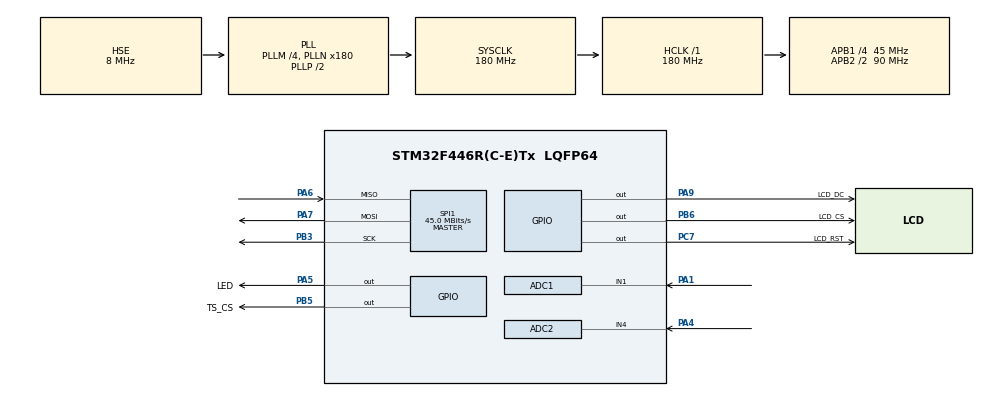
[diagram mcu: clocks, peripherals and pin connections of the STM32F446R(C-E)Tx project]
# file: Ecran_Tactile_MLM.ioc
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ADC1.Channel-0\#ChannelRegularConversion=ADC_CHANNEL_1
ADC1.NbrOfConversionFlag=1
ADC1.Rank-0\#ChannelRegularConversion=1
ADC1.SamplingTime-0\#ChannelRegularConversion=ADC_SAMPLETIME_3CYCLES
ADC1.master=1
ADC2.Channel-0\#ChannelRegularConversion=ADC_CHANNEL_4
ADC2.NbrOfConversionFlag=1
ADC2.Rank-0\#ChannelRegularConversion=1
ADC2.SamplingTime-0\#ChannelRegularConversion=ADC_SAMPLETIME_3CYCLES
Mcu.Family=STM32F4
Mcu.Name=STM32F446R(C-E)Tx
Mcu.Package=LQFP64
NVIC.PriorityGroup=NVIC_PRIORITYGROUP_0
PA1.Signal=ADCx_IN1
PA4.Signal=ADCx_IN4
PA5.GPIO_Label=LED
PA5.Signal=GPIO_Output
PA6.Mode=Full_Duplex_Master
PA6.Signal=SPI1_MISO
PA7.Mode=Full_Duplex_Master
PA7.Signal=SPI1_MOSI
PA9.GPIO_Label=LCD_DC
PA9.Signal=GPIO_Output
PB3.Mode=Full_Duplex_Master
PB3.Signal=SPI1_SCK
PB5.GPIO_Label=TS_CS
PB5.Signal=GPIO_Output
PB6.GPIO_Label=LCD_CS
PB6.Signal=GPIO_Output
PC7.GPIO_Label=LCD_RST
PC7.Signal=GPIO_Output
PH0-OSC_IN.Mode=HSE-External-Oscillator
PH0-OSC_IN.Signal=RCC_OSC_IN
PH1-OSC_OUT.Mode=HSE-External-Oscillator
PH1-OSC_OUT.Signal=RCC_OSC_OUT
ProjectManager.HeapSize=0x200
ProjectManager.StackSize=0x400
ProjectManager.TargetToolchain=STM32CubeIDE
RCC.48MHZClocksFreq_Value=84000000
RCC.AHBFreq_Value=180000000
RCC.APB1CLKDivider=RCC_HCLK_DIV4
RCC.APB1Freq_Value=45000000
RCC.APB1TimFreq_Value=90000000
RCC.APB2CLKDivider=RCC_HCLK_DIV2
RCC.APB2Freq_Value=90000000
RCC.APB2TimFreq_Value=180000000
RCC.CortexFreq_Value=180000000
RCC.FLatency-AdvancedSettings=FLASH_LATENCY_5
RCC.HCLKFreq_Value=180000000
RCC.HSE_VALUE=8000000
RCC.HSI_VALUE=16000000
RCC.PLLM=4
RCC.PLLN=180
RCC.PLLSourceVirtual=RCC_PLLSOURCE_HSE
RCC.SYSCLKFreq_VALUE=180000000
RCC.SYSCLKSource=RCC_SYSCLKSOURCE_PLLCLK
RCC.USBFreq_Value=180000000
RCC.VCOOutputFreq_Value=360000000
SH.ADCx_IN1.0=ADC1_IN1,IN1
SH.ADCx_IN4.0=ADC2_IN4,IN4
SPI1.BaudRatePrescaler=SPI_BAUDRATEPRESCALER_2
SPI1.CalculateBaudRate=45.0 MBits/s
SPI1.Direction=SPI_DIRECTION_2LINES
SPI1.Mode=SPI_MODE_MASTER
SPI1.VirtualType=VM_MASTER
board=NUCLEO-F446RE

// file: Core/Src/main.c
/* USER CODE BEGIN Header */
/**
  ******************************************************************************
  * @file           : main.c
  * @brief          : Main program body
  ******************************************************************************
  * @attention
  *
  * Copyright (c) 2022 STMicroelectronics.
  * All rights reserved.
  *
  * This software is licensed under terms that can be found in the LICENSE file
  * in the root directory of this software component.
  * If no LICENSE file comes with this software, it is provided AS-IS.
  *
  ******************************************************************************
  */
/* USER CODE END Header */
#include "main.h"

/* USER CODE BEGIN Includes */
#include "MY_ILI9341.h"
#include "lcd_touch.h"
#include "string.h"
#include "image.h"
/* USER CODE END Includes */

ADC_HandleTypeDef hadc1;
ADC_HandleTypeDef hadc2;

SPI_HandleTypeDef hspi1;

void SystemClock_Config(void);
static void MX_GPIO_Init(void);
static void MX_SPI1_Init(void);
static void MX_ADC1_Init(void);
static void MX_ADC2_Init(void);

/* USER CODE BEGIN 0 */
//TS_TOUCH_DATA_Def myTS_Handle;
/* USER CODE END 0 */

int main(void)
{

  /* MCU Configuration--------------------------------------------------------*/

  /* Reset of all peripherals, Initializes the Flash interface and the Systick. */
  HAL_Init();

  /* Configure the system clock */
  SystemClock_Config();

  /* Initialize all configured peripherals */
  MX_GPIO_Init();
  MX_SPI1_Init();
  MX_ADC1_Init();
  MX_ADC2_Init();
  /* USER CODE BEGIN 2 */
	ILI9341_Init(&hspi1, LCD_CS_GPIO_Port, LCD_CS_Pin, LCD_DC_GPIO_Port, LCD_DC_Pin, LCD_RST_GPIO_Port, LCD_RST_Pin);
	ILI9341_setRotation(2);
	ILI9341_Fill(COLOR_NAVY);

	//TSC2046_Begin(&hspi2, TS_CS_GPIO_Port, TS_CS_Pin);
	//TSC2046_Calibrate();
	ILI9341_Fill(COLOR_WHITE);

		ILI9341_Fill_Rect(20, 140, 140, 180, COLOR_BLUE);
		ILI9341_printText("BLUE", 55,  155, COLOR_WHITE, COLOR_BLUE, 1);
		ILI9341_Fill_Rect(180, 140, 300, 180, COLOR_RED);
		ILI9341_printText("RED", 215,  155, COLOR_WHITE, COLOR_RED, 1);

	ILI9341_Fill_Rect(60, 30, 260, 90, COLOR_RED);

	ILI9341_Fill_Rect(5, 215, 315, 235, COLOR_ORANGE);
	ILI9341_printText("Last touch point X=000  Y=000", 70, 221, COLOR_WHITE, COLOR_ORANGE, 1);
	ILI9341_Fill_Rect(5, 215, 5, 25, COLOR_GREEN);
	ILI9341_printText("Max, Leo, Margot, time to start ", 60 ,5, COLOR_WHITE, COLOR_BLACK, 1);
	ILI9341_Fill_Rect(280, 0, 320, 40, COLOR_RED);
	ILI9341_printText("X", 292, 5, COLOR_WHITE, COLOR_RED, 4);
	LCD_Touch_Init(&hadc2, ADC_CHANNEL_4, &hadc1, ADC_CHANNEL_1);
		LCD_SetMode(LCD_MODE_TOUCH);
		uint8_t flag=0;
		LCD_TouchPoint p;
		p.x=0;
		p.y=0;
		p.state=LCD_TOUCH_IDLE;
		LCD_TouchPoint New_p;
				New_p.x=0;
				New_p.y=0;
				New_p.state=LCD_TOUCH_IDLE;
		char TextPos[] = "Last touch point X=000  Y=000";
		char PosX[3];
		char PosY[3];
  /* USER CODE END 2 */

  /* Infinite loop */
  /* USER CODE BEGIN WHILE */

  while (1)
  {
  	  /*** main test 3 draw last point and touch at start of touch BEG***/
/*

		  if(LCD_Touch_GetState()==LCD_TOUCH_DOWN ) /if there is a touch starting
		  {		LCD_Touch_Read(&p);
			  LCD_Touch_Draw_LastPoint_Bottom(&p);
			  DrawTouchPoint(&p);

			  if(LCD_Touch_Belong_Interval(&p,140,180,180,300))  // carré LED ON
			 			  {

			 					  LCD_SetMode(LCD_MODE_DRAW);

			 					  ILI9341_Fill_Rect(20, 140, 140, 180, COLOR_BLUE);
			 					  ILI9341_printText("LED ON 0", 55,  155, COLOR_WHITE, COLOR_BLUE, 1);
			 					  ILI9341_Fill_Rect(180, 140, 300, 180, COLOR_RED);
			 					  ILI9341_printText("LED OFF 0", 215,  155, COLOR_WHITE, COLOR_RED, 1);
			 					  LCD_SetMode(LCD_MODE_TOUCH);
			 			  }

			 if(LCD_Touch_Belong_Interval(&p,140,180,30,140))  // carré LED OFF
			 			{
			 					 LCD_SetMode(LCD_MODE_DRAW);
			 					 ILI9341_Fill_Rect(20, 140, 140, 180, COLOR_RED);
			 					 ILI9341_printText("LED ON 1", 55,  155, COLOR_WHITE, COLOR_RED, 1);
			 					 ILI9341_Fill_Rect(180, 140, 300, 180, COLOR_BLUE);
			 					 ILI9341_printText("LED OFF 1", 215,  155, COLOR_WHITE, COLOR_BLUE, 1);
			 					 LCD_SetMode(LCD_MODE_TOUCH);
			 			}

			 if(LCD_Touch_Belong_Interval(&p,50,80,60,180))  // rectangle
			 {
				 ILI9341_printImage(60,30, 100,100,Banane1, sizeof(Banane1));
				 HAL_Delay(100);
				 ILI9341_printImage(60,30, 100,100,Banane2, sizeof(Banane2));
				 HAL_Delay(100);
				 ILI9341_printImage(60,30, 100,100,Banane3, sizeof(Banane3));
				 HAL_Delay(100);
				 ILI9341_printImage(60,30, 100,100,Banane4, sizeof(Banane4));
				 HAL_Delay(100);
				 ILI9341_printImage(60,30, 100,100,Banane5, sizeof(Banane5));
				 HAL_Delay(100);
				 ILI9341_printImage(60,30, 100,100,Banane6, sizeof(Banane6));
				 HAL_Delay(100);
				 ILI9341_printImage(60,30, 100,100,Banane7, sizeof(Banane7));
				 HAL_Delay(100);
				 ILI9341_printImage(60,30, 100,100,Banane8, sizeof(Banane8));
				 HAL_Delay(100);
			 }
			 if(LCD_Touch_Belong_Interval(&p,0,40,0,40))  // Clear
			 			 {
				 	 	 	 ILI9341_Fill(COLOR_WHITE);
				 	 	 	 ILI9341_Fill_Rect(20, 140, 140, 180, COLOR_BLUE);
				 	 	 	 ILI9341_printText("LED ON", 55,  155, COLOR_WHITE, COLOR_BLUE, 1);
				 	 	 	 ILI9341_Fill_Rect(180, 140, 300, 180, COLOR_RED);
				 	 	 	 ILI9341_printText("LED OFF", 215,  155, COLOR_WHITE, COLOR_RED, 1);
				 	 	 	 ILI9341_Fill_Rect(60, 30, 260, 90, COLOR_RED);
				 	 	 	 ILI9341_Fill_Rect(5, 215, 315, 235, COLOR_ORANGE);
				 	 	 	 ILI9341_printText("Last touch point X=000  Y=000", 70, 221, COLOR_WHITE, COLOR_ORANGE, 1);
				 	 	 	 ILI9341_Fill_Rect(5, 215, 5, 25, COLOR_GREEN);
				 	 	 	 ILI9341_printText("Max, Leo, Margot, time to start ", 60 ,5, COLOR_WHITE, COLOR_BLACK, 1);
				 	 	 	 ILI9341_Fill_Rect(280, 0, 320, 40, COLOR_RED);
				 	 	 	 ILI9341_printText("X", 292, 5, COLOR_WHITE, COLOR_RED, 4);
			 			 }

		  }
		  else if(LCD_Touch_GetState()==LCD_TOUCH_UP){ //if the touch end
			  LCD_Touch_Read(&p);
			  LCD_SetMode(LCD_MODE_DRAW);
			  if (p.tick>1000){
				  	  char  BUF[3600];
				  	  sprintf(BUF,"Ticktime : %ld",p.tick);
				  	  ILI9341_printText(BUF, 60 ,60, COLOR_WHITE, COLOR_ORANGE, 1);

			  	  }
			  	  else{
			  		ILI9341_Fill_Rect(60, 30, 260, 90, COLOR_RED);
			  		}
			  ILI9341_printText("Max, Leo, Margot, time to start ", 60 ,5, COLOR_WHITE, COLOR_BLACK, 1);
			  LCD_SetMode(LCD_MODE_TOUCH);

		  }
		  else if(LCD_Touch_GetState()==LCD_TOUCH_MOVE){ //if there is a move during the touch
			  New_p.x=0;
			  New_p.y=0;
			  LCD_Touch_Read(&New_p);
			  if(New_p.y!=0){ //if there really is a move
				  LCD_Touch_Draw_LastPoint_Bottom(&New_p);
	  			  DrawTouchPoint(&p);

	  			  LCD_SetMode(LCD_MODE_DRAW);
	  			 // ILI9341_drawLine(320-p.y,p.x,320-New_p.y,New_p.x,COLOR_BLACK);
	  			  ILI9341_printText("Max, Leo, Margot, time to leave ", 60 ,5, COLOR_WHITE, COLOR_BLACK, 1);
	  			  ILI9341_Fill_Rect(60, 30, 260, 90, COLOR_RED);
	  			  ILI9341_Fill_Rect(0, 0, 20, 20, COLOR_WHITE);

	  			  //ILI9341_printText("MOVE ", 60 ,60, COLOR_WHITE, COLOR_ORANGE, 1);
	  			  LCD_SetMode(LCD_MODE_TOUCH);

			  }

		  }
		  else{ //IDLE

		  __WFI();
		//  }

*/
		  	  /*** main test 3 draw last point and touch at start of a touch  END ***/

	  /*** main test 4 draw when moving BEG ***/
	  if(LCD_Touch_GetState()==LCD_TOUCH_DOWN ) //if there is a touch starting
	  		  {		LCD_Touch_Read(&p);
	  			  	LCD_Touch_Draw_LastPoint_Bottom(&p);
	  			  	DrawTouchPoint(&p);

	  		  }

	  		  else if(LCD_Touch_GetState()==LCD_TOUCH_MOVE){ //if there is a move during the touch
	  			  if (flag==0)
	  			  {
	  				LCD_Touch_Read(&p);
	  				LCD_Touch_Draw_LastPoint_Bottom(&p);
	  				DrawTouchPoint(&p);
	  				flag=1;
	  			  }
	  			  	  	  	  New_p.x=0;
	  						  New_p.y=0;
	  						  LCD_Touch_Read(&New_p);
	  						  if(New_p.y>2&&New_p.x>5){ //if there really is a move
	  							 LCD_Touch_Draw_LastPoint_Bottom(&New_p);
	  				  			 DrawTouchPoint(&New_p);

	  				  			  if(LCD_Touch_Belong_Interval(&New_p,140,180,180,300))  // carré LED ON
	  				  			 			  {

	  				  			 					  LCD_SetMode(LCD_MODE_DRAW);

	  				  			 					  ILI9341_Fill_Rect(20, 140, 140, 180, COLOR_BLUE);
	  				  			 					  ILI9341_printText("BLUE", 55,  155, COLOR_WHITE, COLOR_BLUE, 1);
	  				  			 					  ILI9341_Fill_Rect(180, 140, 300, 180, COLOR_RED);
	  				  			 					  ILI9341_printText("RED", 215,  155, COLOR_WHITE, COLOR_RED, 1);
	  				  			 					  LCD_SetMode(LCD_MODE_TOUCH);
	  				  			 			  }

	  				  			 if(LCD_Touch_Belong_Interval(&New_p,140,180,30,140))  // carré LED OFF
	  				  			 			{
	  				  			 					 LCD_SetMode(LCD_MODE_DRAW);
	  				  			 					 ILI9341_Fill_Rect(20, 140, 140, 180, COLOR_RED);
	  				  			 					 ILI9341_printText("RED", 55,  155, COLOR_WHITE, COLOR_RED, 1);
	  				  			 					 ILI9341_Fill_Rect(180, 140, 300, 180, COLOR_BLUE);
	  				  			 					 ILI9341_printText("BLUE", 215,  155, COLOR_WHITE, COLOR_BLUE, 1);

	  				  			 					 LCD_SetMode(LCD_MODE_TOUCH);
	  				  			 			}

	  				  			 if(LCD_Touch_Belong_Interval(&New_p,50,80,60,180))  // rectangle
	  				  			 {
	  				  				 LCD_SetMode(LCD_MODE_DRAW);
	  				  				 ILI9341_printImage(60,30, 100,100,Banane1, sizeof(Banane1));
	  				  				 HAL_Delay(100);
	  				  				 ILI9341_printImage(60,30, 100,100,Banane2, sizeof(Banane2));
	  				  				 HAL_Delay(100);
	  				  				 ILI9341_printImage(60,30, 100,100,Banane3, sizeof(Banane3));
	  				  				 HAL_Delay(100);
	  				  				 ILI9341_printImage(60,30, 100,100,Banane4, sizeof(Banane4));
	  				  				 HAL_Delay(100);
	  				  				 ILI9341_printImage(60,30, 100,100,Banane5, sizeof(Banane5));
	  				  				 HAL_Delay(100);
	  				  				 ILI9341_printImage(60,30, 100,100,Banane6, sizeof(Banane6));
	  				  				 HAL_Delay(100);
	  				  				 ILI9341_printImage(60,30, 100,100,Banane7, sizeof(Banane7));
	  				  				 HAL_Delay(100);
	  				  				 ILI9341_printImage(60,30, 100,100,Banane8, sizeof(Banane8));
	  				  				 HAL_Delay(100);
	  				  				 ILI9341_Fill_Rect(60, 30, 260, 90, COLOR_RED);
	  				  				 LCD_SetMode(LCD_MODE_TOUCH);
	  				  			 }
	  				  			 if(LCD_Touch_Belong_Interval(&New_p,1,50,1,50))  // Clear
	  				  			 			 {
	  				  				 	 	 	 LCD_SetMode(LCD_MODE_DRAW);
	  				  				 	 	 	 ILI9341_Fill(COLOR_WHITE);
	  				  				 	 	 	 ILI9341_Fill_Rect(20, 140, 140, 180, COLOR_BLUE);
	  				  				 	 	 	 ILI9341_printText("BLUE", 55,  155, COLOR_WHITE, COLOR_BLUE, 1);
	  				  				 	 	 	 ILI9341_Fill_Rect(180, 140, 300, 180, COLOR_RED);
	  				  				 	 	 	 ILI9341_printText("RED", 215,  155, COLOR_WHITE, COLOR_RED, 1);
	  				  				 	 	 	 ILI9341_Fill_Rect(60, 30, 260, 90, COLOR_RED);
	  				  				 	 	 	 ILI9341_Fill_Rect(5, 215, 315, 235, COLOR_ORANGE);
	  				  				 	 	 	 ILI9341_printText("Last touch point X=000  Y=000", 70, 221, COLOR_WHITE, COLOR_ORANGE, 1);
	  				  				 	 	 	 ILI9341_Fill_Rect(5, 215, 5, 25, COLOR_GREEN);
	  				  				 	 	 	 ILI9341_printText("Max, Leo, Margot, time to start ", 60 ,5, COLOR_WHITE, COLOR_BLACK, 1);
	  				  				 	 	 	 ILI9341_Fill_Rect(280, 0, 320, 40, COLOR_RED);
	  				  				 	 	 	 ILI9341_printText("X", 292, 5, COLOR_WHITE, COLOR_RED, 4);
	  				  				 	 	 	 LCD_SetMode(LCD_MODE_TOUCH);
	  				  				 	 	 	 New_p.x=0;
	  				  				 	 		 New_p.y=0;
	  				  				 	 		 p.y=0;
	  				  				 	 		 p.x=0;
	  				  				 	 	flag=0;
	  				  				 	//ILI9341_SendCommand(ILI9341_DISPLAY_OFF); // test reset l'écran
	  				  			 			 }
	  				  			 if(New_p.y>p.y+20 && p.y>250 && p.x>70 && p.x<170) //swipe left to the right
	  				  			 {
	  				  				 LCD_SetMode(LCD_MODE_DRAW);
	  				  				 ILI9341_Fill(COLOR_BLUE);
	  				  				 ILI9341_Fill_Rect(20, 140, 140, 180, COLOR_BLUE);
	  				  				 ILI9341_printText("BLUE", 55,  155, COLOR_WHITE, COLOR_BLUE, 1);
	  				  				 ILI9341_Fill_Rect(180, 140, 300, 180, COLOR_RED);
	  				  				 ILI9341_printText("RED", 215,  155, COLOR_WHITE, COLOR_RED, 1);
	  				  				 ILI9341_Fill_Rect(60, 30, 260, 90, COLOR_RED);
	  				  				 ILI9341_Fill_Rect(5, 215, 315, 235, COLOR_ORANGE);
	  				  				 ILI9341_printText("Last touch point X=000  Y=000", 70, 221, COLOR_WHITE, COLOR_ORANGE, 1);
	  				  				 ILI9341_Fill_Rect(5, 215, 5, 25, COLOR_GREEN);
	  				  				 ILI9341_printText("Max, Leo, Margot, time to start ", 60 ,5, COLOR_WHITE, COLOR_BLACK, 1);
	  				  				 ILI9341_Fill_Rect(280, 0, 320, 40, COLOR_RED);
	  				  				 ILI9341_printText("X", 292, 5, COLOR_WHITE, COLOR_RED, 4);
	  				  				 LCD_SetMode(LCD_MODE_TOUCH);
								}
	  				  			if(p.y<70 && New_p.y<p.y-20 && New_p.x>70 && New_p.x<170) //swipe right to the left
	  				  			{
	  				  				LCD_SetMode(LCD_MODE_DRAW);
									ILI9341_Fill(COLOR_RED);
									ILI9341_Fill_Rect(20, 140, 140, 180, COLOR_BLUE);
									ILI9341_printText("LED ON", 55,  155, COLOR_WHITE, COLOR_BLUE, 1);
									ILI9341_Fill_Rect(180, 140, 300, 180, COLOR_RED);
									ILI9341_printText("LED OFF", 215,  155, COLOR_WHITE, COLOR_RED, 1);
									ILI9341_Fill_Rect(60, 30, 260, 90, COLOR_RED);
									ILI9341_Fill_Rect(5, 215, 315, 235, COLOR_ORANGE);
									ILI9341_printText("Last touch point X=000  Y=000", 70, 221, COLOR_WHITE, COLOR_ORANGE, 1);
									ILI9341_Fill_Rect(5, 215, 5, 25, COLOR_GREEN);
									ILI9341_printText("Max, Leo, Margot, time to start ", 60 ,5, COLOR_WHITE, COLOR_BLACK, 1);
									ILI9341_Fill_Rect(280, 0, 320, 40, COLOR_RED);
									ILI9341_printText("X", 292, 5, COLOR_WHITE, COLOR_RED, 4);
									LCD_SetMode(LCD_MODE_TOUCH);
	  				  			}
	  				  		if(p.y>70 &&  p.y<170 && New_p.x<p.x-15 && p.x>150 ) //swipe up
	  				  			{
	  				  			 	 LCD_SetMode(LCD_MODE_DRAW);
	  				  			 	 ILI9341_Fill(COLOR_BLACK);
	  				  			 	 ILI9341_printImage(100,100, 100,100,VB2, sizeof(VB2));
	  				  			 	 ILI9341_Fill_Rect(280, 0, 320, 40, COLOR_RED);
	  				  			 	 ILI9341_printText("X", 292, 5, COLOR_WHITE, COLOR_RED, 4);
	  				  			 	 LCD_SetMode(LCD_MODE_TOUCH);

	  				  			}

	  		  }
	  		 else if(LCD_Touch_GetState()==LCD_TOUCH_UP){ //if the touch end
	  			 	 char  BUF[3600];
	  				  sprintf(BUF,"Ticktime : %ld",p.tick);
	  				  ILI9341_printText(BUF, 60 ,60, COLOR_WHITE, COLOR_ORANGE, 1);
	  				  BUF[0]='\0';
	  				  p.tick=0;
	  				  flag=0;

	  			  		  }
	  		  else{ //IDLE
	  			 /* LCD_SetMode(LCD_MODE_DRAW);
	  			  ILI9341_Fill_Rect(60, 30, 260, 90, COLOR_RED);
	  			  ILI9341_printText("NO TOUCH ", 60 ,60, COLOR_WHITE, COLOR_ORANGE, 1);
	  			  HAL_Delay(1000);
	  			  LCD_SetMode(LCD_MODE_TOUCH);*/
	  			flag=0;
	  			  __WFI();
	  		  }
	  /*** main test 4 draw  when moving END ***/
	  		  }
  }

    /* USER CODE END WHILE */

}

void SystemClock_Config(void)
{
  RCC_OscInitTypeDef RCC_OscInitStruct = {0};
  RCC_ClkInitTypeDef RCC_ClkInitStruct = {0};

  /** Configure the main internal regulator output voltage
  */
  __HAL_RCC_PWR_CLK_ENABLE();
  __HAL_PWR_VOLTAGESCALING_CONFIG(PWR_REGULATOR_VOLTAGE_SCALE1);

  /** Initializes the RCC Oscillators according to the specified parameters
  * in the RCC_OscInitTypeDef structure.
  */
  RCC_OscInitStruct.OscillatorType = RCC_OSCILLATORTYPE_HSE;
  RCC_OscInitStruct.HSEState = RCC_HSE_ON;
  RCC_OscInitStruct.PLL.PLLState = RCC_PLL_ON;
  RCC_OscInitStruct.PLL.PLLSource = RCC_PLLSOURCE_HSE;
  RCC_OscInitStruct.PLL.PLLM = 4;
  RCC_OscInitStruct.PLL.PLLN = 180;
  RCC_OscInitStruct.PLL.PLLP = RCC_PLLP_DIV2;
  RCC_OscInitStruct.PLL.PLLQ = 2;
  RCC_OscInitStruct.PLL.PLLR = 2;
  if (HAL_RCC_OscConfig(&RCC_OscInitStruct) != HAL_OK)
  {
    Error_Handler();
  }

  /** Activate the Over-Drive mode
  */
  if (HAL_PWREx_EnableOverDrive() != HAL_OK)
  {
    Error_Handler();
  }

  /** Initializes the CPU, AHB and APB buses clocks
  */
  RCC_ClkInitStruct.ClockType = RCC_CLOCKTYPE_HCLK|RCC_CLOCKTYPE_SYSCLK
                              |RCC_CLOCKTYPE_PCLK1|RCC_CLOCKTYPE_PCLK2;
  RCC_ClkInitStruct.SYSCLKSource = RCC_SYSCLKSOURCE_PLLCLK;
  RCC_ClkInitStruct.AHBCLKDivider = RCC_SYSCLK_DIV1;
  RCC_ClkInitStruct.APB1CLKDivider = RCC_HCLK_DIV4;
  RCC_ClkInitStruct.APB2CLKDivider = RCC_HCLK_DIV2;

  if (HAL_RCC_ClockConfig(&RCC_ClkInitStruct, FLASH_LATENCY_5) != HAL_OK)
  {
    Error_Handler();
  }
}

static void MX_ADC1_Init(void)
{

  ADC_ChannelConfTypeDef sConfig = {0};

  /** Configure the global features of the ADC (Clock, Resolution, Data Alignment and number of conversion)
  */
  hadc1.Instance = ADC1;
  hadc1.Init.ClockPrescaler = ADC_CLOCK_SYNC_PCLK_DIV4;
  hadc1.Init.Resolution = ADC_RESOLUTION_12B;
  hadc1.Init.ScanConvMode = DISABLE;
  hadc1.Init.ContinuousConvMode = DISABLE;
  hadc1.Init.DiscontinuousConvMode = DISABLE;
  hadc1.Init.ExternalTrigConvEdge = ADC_EXTERNALTRIGCONVEDGE_NONE;
  hadc1.Init.ExternalTrigConv = ADC_SOFTWARE_START;
  hadc1.Init.DataAlign = ADC_DATAALIGN_RIGHT;
  hadc1.Init.NbrOfConversion = 1;
  hadc1.Init.DMAContinuousRequests = DISABLE;
  hadc1.Init.EOCSelection = ADC_EOC_SINGLE_CONV;
  if (HAL_ADC_Init(&hadc1) != HAL_OK)
  {
    Error_Handler();
  }

  /** Configure for the selected ADC regular channel its corresponding rank in the sequencer and its sample time.
  */
  sConfig.Channel = ADC_CHANNEL_1;
  sConfig.Rank = 1;
  sConfig.SamplingTime = ADC_SAMPLETIME_3CYCLES;
  if (HAL_ADC_ConfigChannel(&hadc1, &sConfig) != HAL_OK)
  {
    Error_Handler();
  }

}

static void MX_ADC2_Init(void)
{

  ADC_ChannelConfTypeDef sConfig = {0};

  /** Configure the global features of the ADC (Clock, Resolution, Data Alignment and number of conversion)
  */
  hadc2.Instance = ADC2;
  hadc2.Init.ClockPrescaler = ADC_CLOCK_SYNC_PCLK_DIV4;
  hadc2.Init.Resolution = ADC_RESOLUTION_12B;
  hadc2.Init.ScanConvMode = DISABLE;
  hadc2.Init.ContinuousConvMode = DISABLE;
  hadc2.Init.DiscontinuousConvMode = DISABLE;
  hadc2.Init.ExternalTrigConvEdge = ADC_EXTERNALTRIGCONVEDGE_NONE;
  hadc2.Init.ExternalTrigConv = ADC_SOFTWARE_START;
  hadc2.Init.DataAlign = ADC_DATAALIGN_RIGHT;
  hadc2.Init.NbrOfConversion = 1;
  hadc2.Init.DMAContinuousRequests = DISABLE;
  hadc2.Init.EOCSelection = ADC_EOC_SINGLE_CONV;
  if (HAL_ADC_Init(&hadc2) != HAL_OK)
  {
    Error_Handler();
  }

  /** Configure for the selected ADC regular channel its corresponding rank in the sequencer and its sample time.
  */
  sConfig.Channel = ADC_CHANNEL_4;
  sConfig.Rank = 1;
  sConfig.SamplingTime = ADC_SAMPLETIME_3CYCLES;
  if (HAL_ADC_ConfigChannel(&hadc2, &sConfig) != HAL_OK)
  {
    Error_Handler();
  }

}

static void MX_SPI1_Init(void)
{

  /* SPI1 parameter configuration*/
  hspi1.Instance = SPI1;
  hspi1.Init.Mode = SPI_MODE_MASTER;
  hspi1.Init.Direction = SPI_DIRECTION_2LINES;
  hspi1.Init.DataSize = SPI_DATASIZE_8BIT;
  hspi1.Init.CLKPolarity = SPI_POLARITY_LOW;
  hspi1.Init.CLKPhase = SPI_PHASE_1EDGE;
  hspi1.Init.NSS = SPI_NSS_SOFT;
  hspi1.Init.BaudRatePrescaler = SPI_BAUDRATEPRESCALER_2;
  hspi1.Init.FirstBit = SPI_FIRSTBIT_MSB;
  hspi1.Init.TIMode = SPI_TIMODE_DISABLE;
  hspi1.Init.CRCCalculation = SPI_CRCCALCULATION_DISABLE;
  hspi1.Init.CRCPolynomial = 10;
  if (HAL_SPI_Init(&hspi1) != HAL_OK)
  {
    Error_Handler();
  }

}

static void MX_GPIO_Init(void)
{
  GPIO_InitTypeDef GPIO_InitStruct = {0};

  /* GPIO Ports Clock Enable */
  __HAL_RCC_GPIOH_CLK_ENABLE();
  __HAL_RCC_GPIOA_CLK_ENABLE();
  __HAL_RCC_GPIOC_CLK_ENABLE();
  __HAL_RCC_GPIOB_CLK_ENABLE();

  /*Configure GPIO pin Output Level */
  HAL_GPIO_WritePin(GPIOA, LED_Pin|LCD_DC_Pin, GPIO_PIN_RESET);

  /*Configure GPIO pin Output Level */
  HAL_GPIO_WritePin(LCD_RST_GPIO_Port, LCD_RST_Pin, GPIO_PIN_RESET);

  /*Configure GPIO pin Output Level */
  HAL_GPIO_WritePin(GPIOB, TS_CS_Pin|LCD_CS_Pin, GPIO_PIN_RESET);

  /*Configure GPIO pins : LED_Pin LCD_DC_Pin */
  GPIO_InitStruct.Pin = LED_Pin|LCD_DC_Pin;
  GPIO_InitStruct.Mode = GPIO_MODE_OUTPUT_PP;
  GPIO_InitStruct.Pull = GPIO_NOPULL;
  GPIO_InitStruct.Speed = GPIO_SPEED_FREQ_LOW;
  HAL_GPIO_Init(GPIOA, &GPIO_InitStruct);

  /*Configure GPIO pin : LCD_RST_Pin */
  GPIO_InitStruct.Pin = LCD_RST_Pin;
  GPIO_InitStruct.Mode = GPIO_MODE_OUTPUT_PP;
  GPIO_InitStruct.Pull = GPIO_NOPULL;
  GPIO_InitStruct.Speed = GPIO_SPEED_FREQ_LOW;
  HAL_GPIO_Init(LCD_RST_GPIO_Port, &GPIO_InitStruct);

  /*Configure GPIO pins : TS_CS_Pin LCD_CS_Pin */
  GPIO_InitStruct.Pin = TS_CS_Pin|LCD_CS_Pin;
  GPIO_InitStruct.Mode = GPIO_MODE_OUTPUT_PP;
  GPIO_InitStruct.Pull = GPIO_NOPULL;
  GPIO_InitStruct.Speed = GPIO_SPEED_FREQ_LOW;
  HAL_GPIO_Init(GPIOB, &GPIO_InitStruct);

}

void Error_Handler(void)
{
  __disable_irq();
  while (1)
  {
  }
}
